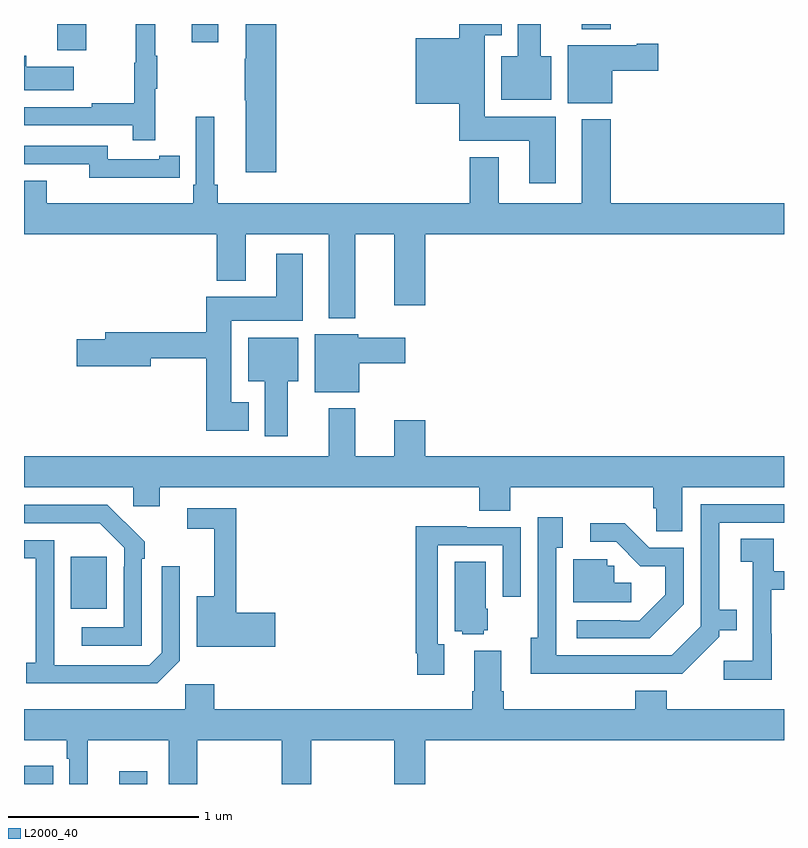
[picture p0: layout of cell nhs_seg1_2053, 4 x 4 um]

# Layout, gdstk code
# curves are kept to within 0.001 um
import gdstk
lib = gdstk.Library(unit=1e-6, precision=1e-09)
def R(c, l, rs):  # rectangles x0, y0, x1, y1
    for r in rs: c.add(gdstk.rectangle(r[:2], r[2:], *l))
def P(c, l, *ps):  # polygons
    for p in ps: c.add(gdstk.Polygon(p, *l))
L2000_40 = (2000, 40)

nhs_seg1_2053 = lib.new_cell('nhs_seg1_2053')
R(nhs_seg1_2053, L2000_40, [(223.502,522.199,223.648,522.265), (223.247,523.121,223.435,523.395), (223.175,526.062,223.327,526.199), (223.883,526.104,224.023,526.199), (225.935,526.172,226.088,526.199)])
P(nhs_seg1_2053, L2000_40, [(225.799,525.712),(225.424,525.712),(225.424,526.139),(225.514,526.139),(225.514,526.199),(225.29,526.199),(225.29,526.123),(225.062,526.123),(225.062,525.779),(225.29,525.779),(225.29,525.584),(225.659,525.584),(225.659,525.36),(225.799,525.36)],
  [(225.775,526.03),(225.721,526.03),(225.721,526.199),(225.599,526.199),(225.599,526.03),(225.512,526.03),(225.512,525.8),(225.775,525.8)],
  [(224.327,526.199),(224.168,526.199),(224.168,526.016),(224.161,526.016),(224.161,525.799),(224.168,525.799),(224.168,525.42),(224.327,525.42)],
  [(223.691,525.859),(223.702,525.859),(223.702,526.033),(223.691,526.033),(223.691,526.199),(223.588,526.199),(223.588,525.996),(223.581,525.996),(223.581,525.782),(223.357,525.782),(223.357,525.762),(223,525.762),(223,525.666),(223.573,525.666),(223.573,525.588),(223.691,525.588)],
  [(226.096,525.953),(226.339,525.953),(226.339,526.095),(226.226,526.095),(226.226,526.087),(225.863,526.087),(225.863,525.782),(226.096,525.782)],
  [(223.261,525.973),(223.013,525.973),(223.013,526.033),(223,526.033),(223,525.851),(223.261,525.851)],
  [(224.743,525.092),(224.948,525.092),(224.948,524.718),(225.112,524.718),(225.112,525.092),(227,525.092),(227,525.256),(226.088,525.256),(226.088,525.697),(225.935,525.697),(225.935,525.256),(225.499,525.256),(225.499,525.499),(225.347,525.499),(225.347,525.256),(224.021,525.256),(224.021,525.352),(224.002,525.352),(224.002,525.712),(223.905,525.712),(223.905,525.352),(223.892,525.352),(223.892,525.256),(223.12,525.256),(223.12,525.373),(223,525.373),(223,525.092),(224.015,525.092),(224.015,524.849),(224.167,524.849),(224.167,525.092),(224.603,525.092),(224.603,524.651),(224.743,524.651)],
  [(223.712,525.39),(223.82,525.39),(223.82,525.506),(223.712,525.506),(223.712,525.486),(223.44,525.486),(223.44,525.558),(223,525.558),(223,525.462),(223.344,525.462),(223.344,525.389),(223.712,525.389)],
  [(224.182,524.209),(224.092,524.209),(224.092,524.636),(224.467,524.636),(224.467,524.989),(224.327,524.989),(224.327,524.764),(223.958,524.764),(223.958,524.576),(223.427,524.576),(223.427,524.54),(223.278,524.54),(223.278,524.398),(223.666,524.398),(223.666,524.44),(223.958,524.44),(223.958,524.057),(224.182,524.057)],
  [(224.764,524.414),(225.007,524.414),(225.007,524.548),(224.76,524.548),(224.76,524.566),(224.531,524.566),(224.531,524.261),(224.764,524.261)],
  [(224.389,524.318),(224.443,524.318),(224.443,524.548),(224.18,524.548),(224.18,524.318),(224.267,524.318),(224.267,524.028),(224.389,524.028)],
  [(226.465,523.76),(227,523.76),(227,523.924),(225.112,523.924),(225.112,524.113),(224.948,524.113),(224.948,523.924),(224.743,523.924),(224.743,524.176),(224.603,524.176),(224.603,523.924),(223,523.924),(223,523.76),(223.575,523.76),(223.575,523.662),(223.714,523.662),(223.714,523.76),(225.395,523.76),(225.395,523.636),(225.56,523.636),(225.56,523.76),(226.313,523.76),(226.313,523.65),(226.327,523.65),(226.327,523.528),(226.465,523.528)],
  [(226.133,522.78),(226.464,522.78),(226.659,522.975),(226.659,523.007),(226.751,523.007),(226.751,523.117),(226.66,523.117),(226.66,523.575),(227,523.575),(227,523.671),(226.563,523.671),(226.563,523.029),(226.41,522.876),(225.801,522.876),(225.801,523.442),(225.835,523.442),(225.835,523.603),(225.705,523.603),(225.705,522.97),(225.668,522.97),(225.668,522.779)],
  [(223.62,523.385),(223.635,523.385),(223.635,523.473),(223.438,523.668),(223,523.668),(223,523.572),(223.399,523.572),(223.527,523.443),(223.527,523.343),(223.524,523.343),(223.524,523.023),(223.305,523.023),(223.305,522.927),(223.62,522.927)],
  [(224.323,523.1),(224.117,523.1),(224.117,523.65),(223.86,523.65),(223.86,523.542),(224,523.542),(224,523.186),(223.91,523.186),(223.91,522.922),(224.323,522.922)],
  [(226.473,523.145),(226.473,523.443),(226.29,523.443),(226.162,523.571),(225.981,523.571),(225.981,523.473),(226.116,523.473),(226.243,523.346),(226.376,523.346),(226.376,523.196),(226.239,523.059),(226.139,523.059),(226.139,523.062),(225.909,523.062),(225.909,522.966),(226.294,522.966)],
  [(225.211,522.935),(225.177,522.935),(225.177,523.455),(225.519,523.455),(225.519,523.185),(225.615,523.185),(225.615,523.551),(225.331,523.551),(225.331,523.555),(225.061,523.555),(225.061,522.886),(225.069,522.886),(225.069,522.774),(225.211,522.774)],
  [(226.935,522.989),(226.932,522.989),(226.932,523.221),(227,523.221),(227,523.32),(226.945,523.32),(226.945,523.49),(226.773,523.49),(226.773,523.369),(226.836,523.369),(226.836,522.847),(226.683,522.847),(226.683,522.749),(226.935,522.749)],
  [(223.821,522.849),(223.821,523.345),(223.725,523.345),(223.725,522.891),(223.659,522.825),(223.159,522.825),(223.158,523.482),(223,523.482),(223,523.386),(223.062,523.386),(223.062,522.838),(223.011,522.838),(223.011,522.728),(223.7,522.728)],
  [(226.195,523.258),(226.107,523.258),(226.107,523.347),(226.071,523.347),(226.071,523.383),(225.89,523.383),(225.89,523.155),(226.195,523.155)],
  [(225.42,523.008),(225.442,523.008),(225.442,523.122),(225.43,523.122),(225.43,523.37),(225.266,523.37),(225.266,523.004),(225.306,523.004),(225.306,522.986),(225.42,522.986)],
  [(223.336,522.428),(223.763,522.428),(223.763,522.199),(223.911,522.199),(223.911,522.428),(224.356,522.428),(224.356,522.199),(224.511,522.199),(224.511,522.428),(224.948,522.428),(224.948,522.199),(225.112,522.199),(225.112,522.428),(227,522.428),(227,522.592),(226.382,522.592),(226.382,522.691),(226.217,522.691),(226.217,522.592),(225.524,522.592),(225.524,522.688),(225.511,522.688),(225.511,522.901),(225.371,522.901),(225.371,522.688),(225.359,522.688),(225.359,522.592),(224,522.592),(224,522.724),(223.848,522.724),(223.848,522.592),(223,522.592),(223,522.428),(223.226,522.428),(223.226,522.332),(223.239,522.332),(223.239,522.199),(223.336,522.199)],
  [(223.154,522.294),(223.046,522.294),(223.046,522.295),(223,522.295),(223,522.199),(223.154,522.199)])

lib.write_gds('nhs_seg1_2053.gds')
